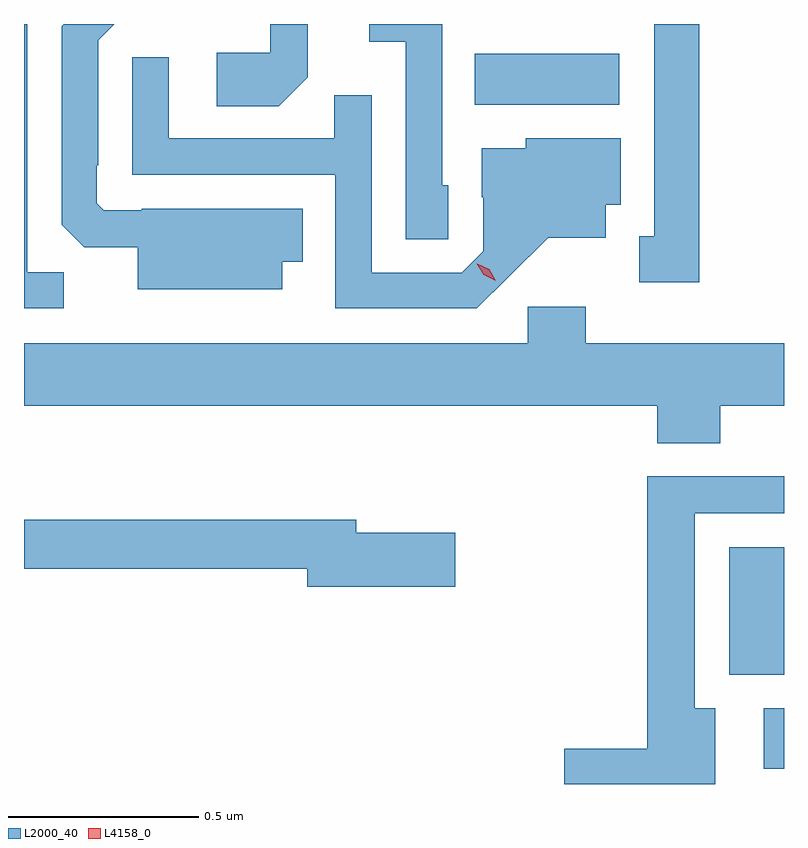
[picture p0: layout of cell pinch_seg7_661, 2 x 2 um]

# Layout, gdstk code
import gdstk
lib = gdstk.Library(unit=1e-6, precision=1e-09)
def R(c, l, rs):  # rectangles x0, y0, x1, y1
    for r in rs: c.add(gdstk.rectangle(r[:2], r[2:], *l))
def P(c, l, *ps):  # polygons
    for p in ps: c.add(gdstk.Polygon(p, *l))
L2000_40 = (2000, 40)
L4158_0 = (4158, 0)

pinch_seg7_661 = lib.new_cell('pinch_seg7_661')
R(pinch_seg7_661, L2000_40, [(143.679,1024.968,143.732,1025.127), (143.588,1025.216,143.732,1025.551), (142.918,1026.716,143.299,1026.85)])
P(pinch_seg7_661, L2000_40, [(142.479,1026.788),(142.479,1026.928),(142.38,1026.928),(142.38,1026.852),(142.239,1026.852),(142.239,1026.712),(142.403,1026.712)],
  [(143.509,1026.928),(143.39,1026.928),(143.39,1026.369),(143.351,1026.369),(143.351,1026.249),(143.509,1026.249)],
  [(142.848,1026.504),(142.833,1026.504),(142.833,1026.928),(142.641,1026.928),(142.641,1026.881),(142.737,1026.881),(142.737,1026.361),(142.848,1026.361)],
  [(141.837,1026.275),(141.741,1026.275),(141.741,1026.928),(141.732,1026.928),(141.732,1026.18),(141.837,1026.18)],
  [(142.411,1026.302),(142.466,1026.302),(142.466,1026.442),(142.042,1026.442),(142.042,1026.438),(141.942,1026.438),(141.924,1026.456),(141.924,1026.556),(141.927,1026.556),(141.927,1026.885),(141.97,1026.928),(141.837,1026.928),(141.831,1026.922),(141.831,1026.4),(141.89,1026.341),(142.031,1026.341),(142.031,1026.23),(142.411,1026.23)],
  [(143.008,1026.263),(143.111,1026.365),(143.263,1026.365),(143.263,1026.452),(143.302,1026.452),(143.302,1026.628),(143.052,1026.628),(143.052,1026.601),(142.937,1026.601),(142.937,1026.472),(142.941,1026.472),(142.941,1026.33),(142.884,1026.273),(142.647,1026.273),(142.647,1026.74),(142.549,1026.74),(142.549,1026.627),(142.113,1026.627),(142.113,1026.841),(142.017,1026.841),(142.017,1026.531),(142.551,1026.531),(142.551,1026.18),(142.924,1026.18)],
  [(143.564,1025.924),(143.732,1025.924),(143.732,1026.088),(143.21,1026.088),(143.21,1026.184),(143.058,1026.184),(143.058,1026.088),(141.732,1026.088),(141.732,1025.924),(143.399,1025.924),(143.399,1025.825),(143.564,1025.825)],
  [(143.551,1025.128),(143.497,1025.128),(143.497,1025.64),(143.732,1025.64),(143.732,1025.738),(143.372,1025.738),(143.372,1025.021),(143.154,1025.021),(143.154,1024.928),(143.551,1024.928)],
  [(142.867,1025.589),(142.606,1025.589),(142.606,1025.623),(141.732,1025.623),(141.732,1025.494),(142.478,1025.494),(142.478,1025.447),(142.867,1025.447)])
P(pinch_seg7_661, L4158_0, [(142.973,1026.253),(142.942,1026.268),(142.924,1026.297),(142.924,1026.297),(142.925,1026.297),(142.956,1026.282),(142.974,1026.253),(142.974,1026.253)])

lib.write_gds('pinch_seg7_661.gds')
